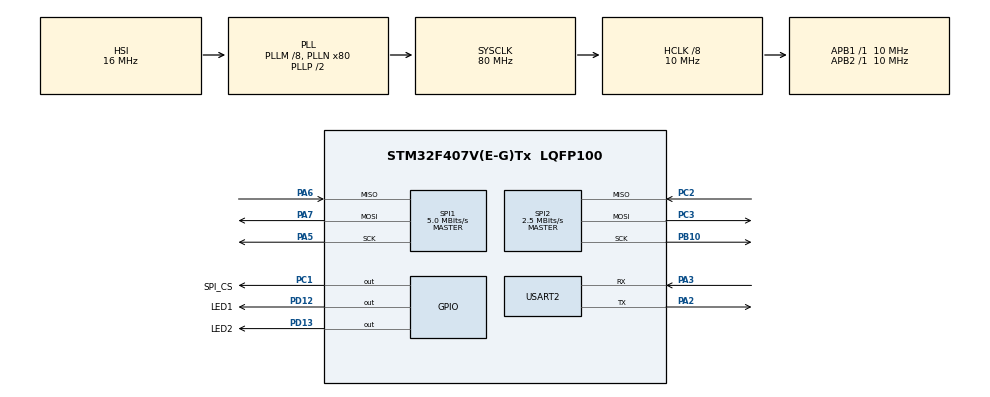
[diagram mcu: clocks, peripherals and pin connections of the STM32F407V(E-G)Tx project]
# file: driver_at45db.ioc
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Mcu.Family=STM32F4
Mcu.Name=STM32F407V(E-G)Tx
Mcu.Package=LQFP100
NVIC.PriorityGroup=NVIC_PRIORITYGROUP_4
PA2.Mode=Asynchronous
PA2.Signal=USART2_TX
PA3.Mode=Asynchronous
PA3.Signal=USART2_RX
PA5.Mode=Full_Duplex_Master
PA5.Signal=SPI1_SCK
PA6.Mode=Full_Duplex_Master
PA6.Signal=SPI1_MISO
PA7.Mode=Full_Duplex_Master
PA7.Signal=SPI1_MOSI
PB10.Mode=Full_Duplex_Master
PB10.Signal=SPI2_SCK
PC1.GPIO_Label=SPI_CS
PC1.Signal=GPIO_Output
PC2.Mode=Full_Duplex_Master
PC2.Signal=SPI2_MISO
PC3.Mode=Full_Duplex_Master
PC3.Signal=SPI2_MOSI
PD12.GPIO_Label=LED1
PD12.Signal=GPIO_Output
PD13.GPIO_Label=LED2
PD13.Signal=GPIO_Output
ProjectManager.HeapSize=0x200
ProjectManager.StackSize=0x400
ProjectManager.TargetToolchain=Makefile
RCC.48MHZClocksFreq_Value=40000000
RCC.AHBCLKDivider=RCC_SYSCLK_DIV8
RCC.AHBFreq_Value=10000000
RCC.APB1Freq_Value=10000000
RCC.APB1TimFreq_Value=10000000
RCC.APB2Freq_Value=10000000
RCC.APB2TimFreq_Value=10000000
RCC.CortexFreq_Value=10000000
RCC.HCLKFreq_Value=10000000
RCC.HSE_VALUE=25000000
RCC.HSI_VALUE=16000000
RCC.LSE_VALUE=32768
RCC.PLLM=8
RCC.PLLN=80
RCC.SYSCLKFreq_VALUE=80000000
RCC.SYSCLKSource=RCC_SYSCLKSOURCE_PLLCLK
RCC.VCOOutputFreq_Value=160000000
SPI1.CalculateBaudRate=5.0 MBits/s
SPI1.Direction=SPI_DIRECTION_2LINES
SPI1.Mode=SPI_MODE_MASTER
SPI1.VirtualType=VM_MASTER
SPI2.BaudRatePrescaler=SPI_BAUDRATEPRESCALER_4
SPI2.CalculateBaudRate=2.5 MBits/s
SPI2.Direction=SPI_DIRECTION_2LINES
SPI2.Mode=SPI_MODE_MASTER
SPI2.VirtualType=VM_MASTER
USART2.VirtualMode=VM_ASYNC
board=custom

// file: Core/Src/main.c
/* USER CODE BEGIN Header */
/**
  ******************************************************************************
  * @file           : main.c
  * @brief          : Main program body
  ******************************************************************************
  * @attention
  *
  * Copyright (c) 2022 STMicroelectronics.
  * All rights reserved.
  *
  * This software is licensed under terms that can be found in the LICENSE file
  * in the root directory of this software component.
  * If no LICENSE file comes with this software, it is provided AS-IS.
  *
  ******************************************************************************
  */
/* USER CODE END Header */
#include "main.h"
#include "AT45DB041.h"

/* USER CODE BEGIN Includes */
#include "string.h"
#define INIT_MSG             "Init program\n"
#define SIZE_MSG        (strlen(MSG))

/* USER CODE END Includes */

SPI_HandleTypeDef hspi1;
SPI_HandleTypeDef hspi2;

UART_HandleTypeDef huart2;

void SystemClock_Config(void);
static void MX_GPIO_Init(void);
static void MX_SPI2_Init(void);
static void MX_SPI1_Init(void);
static void MX_USART2_UART_Init(void);

int main(void)
{

  /* MCU Configuration--------------------------------------------------------*/

  /* Reset of all peripherals, Initializes the Flash interface and the Systick. */
  HAL_Init();

  /* Configure the system clock */
  SystemClock_Config();

  /* Initialize all configured peripherals */
  MX_GPIO_Init();
  MX_SPI2_Init();
  MX_SPI1_Init();
  MX_USART2_UART_Init();
  /* USER CODE BEGIN 2 */
uint8_t ready = 0;

uint8_t buffer[100]={0};
uint8_t  buffer1[50]={0};
  /* USER CODE END 2 */

  /* Infinite loop */
  /* USER CODE BEGIN WHILE */

  #define MSG       " Driver  AT45DB by Velardez German \n"
  #define MSG_LEN    strlen(MSG) +1

  #define BUFFER_FLAG          (0)
  #define FULL_ERASE           (0)
  HAL_UART_Transmit(&huart2,INIT_MSG,SIZE_MSG,1000);
  ready = is_ready();
  sprintf(buffer," device %s \n",(ready)?"ready":"bussy");
  HAL_UART_Transmit(&huart2,buffer,strlen(buffer),1000);

  at45_resumen();
  #if (BUFFER_FLAG == 1)
  //write_buffer1(MSG,MSG_LEN,0);
  HAL_Delay(100);
  read_buffer1(buffer1,MSG_LEN,0);
  #else
  write_page(MSG,MSG_LEN,100,2);
  HAL_Delay(100);
  read_page(buffer1,MSG_LEN,100,2);
  #endif

  sprintf(buffer," \nData readed:%s\n",buffer1);
  HAL_UART_Transmit(&huart2,buffer,strlen(buffer),1000);

  #if (BUFFER_FLAG == 0 && FULL_ERASE == 1)
  full_erase_memory();
  read_page(buffer1,MSG_LEN,100,0);
  sprintf(buffer," \nRead  page after full erase chip:%s\n",buffer1);

  HAL_UART_Transmit(&huart2,buffer,strlen(buffer),1000);
  #endif
  at45_sleep();
  while (1)
  {

    HAL_Delay(1000);
    HAL_GPIO_TogglePin(LED1_GPIO_Port,LED1_Pin);

    /* USER CODE END WHILE */

  }
}

void SystemClock_Config(void)
{
  RCC_OscInitTypeDef RCC_OscInitStruct = {0};
  RCC_ClkInitTypeDef RCC_ClkInitStruct = {0};

  /** Configure the main internal regulator output voltage
  */
  __HAL_RCC_PWR_CLK_ENABLE();
  __HAL_PWR_VOLTAGESCALING_CONFIG(PWR_REGULATOR_VOLTAGE_SCALE1);

  /** Initializes the RCC Oscillators according to the specified parameters
  * in the RCC_OscInitTypeDef structure.
  */
  RCC_OscInitStruct.OscillatorType = RCC_OSCILLATORTYPE_HSI;
  RCC_OscInitStruct.HSIState = RCC_HSI_ON;
  RCC_OscInitStruct.HSICalibrationValue = RCC_HSICALIBRATION_DEFAULT;
  RCC_OscInitStruct.PLL.PLLState = RCC_PLL_ON;
  RCC_OscInitStruct.PLL.PLLSource = RCC_PLLSOURCE_HSI;
  RCC_OscInitStruct.PLL.PLLM = 8;
  RCC_OscInitStruct.PLL.PLLN = 80;
  RCC_OscInitStruct.PLL.PLLP = RCC_PLLP_DIV2;
  RCC_OscInitStruct.PLL.PLLQ = 4;
  if (HAL_RCC_OscConfig(&RCC_OscInitStruct) != HAL_OK)
  {
    Error_Handler();
  }

  /** Initializes the CPU, AHB and APB buses clocks
  */
  RCC_ClkInitStruct.ClockType = RCC_CLOCKTYPE_HCLK|RCC_CLOCKTYPE_SYSCLK
                              |RCC_CLOCKTYPE_PCLK1|RCC_CLOCKTYPE_PCLK2;
  RCC_ClkInitStruct.SYSCLKSource = RCC_SYSCLKSOURCE_PLLCLK;
  RCC_ClkInitStruct.AHBCLKDivider = RCC_SYSCLK_DIV8;
  RCC_ClkInitStruct.APB1CLKDivider = RCC_HCLK_DIV1;
  RCC_ClkInitStruct.APB2CLKDivider = RCC_HCLK_DIV1;

  if (HAL_RCC_ClockConfig(&RCC_ClkInitStruct, FLASH_LATENCY_0) != HAL_OK)
  {
    Error_Handler();
  }
}

static void MX_SPI1_Init(void)
{

  /* SPI1 parameter configuration*/
  hspi1.Instance = SPI1;
  hspi1.Init.Mode = SPI_MODE_MASTER;
  hspi1.Init.Direction = SPI_DIRECTION_2LINES;
  hspi1.Init.DataSize = SPI_DATASIZE_8BIT;
  hspi1.Init.CLKPolarity = SPI_POLARITY_LOW;
  hspi1.Init.CLKPhase = SPI_PHASE_1EDGE;
  hspi1.Init.NSS = SPI_NSS_SOFT;
  hspi1.Init.BaudRatePrescaler = SPI_BAUDRATEPRESCALER_2;
  hspi1.Init.FirstBit = SPI_FIRSTBIT_MSB;
  hspi1.Init.TIMode = SPI_TIMODE_DISABLE;
  hspi1.Init.CRCCalculation = SPI_CRCCALCULATION_DISABLE;
  hspi1.Init.CRCPolynomial = 10;
  if (HAL_SPI_Init(&hspi1) != HAL_OK)
  {
    Error_Handler();
  }

}

static void MX_SPI2_Init(void)
{

  /* SPI2 parameter configuration*/
  hspi2.Instance = SPI2;
  hspi2.Init.Mode = SPI_MODE_MASTER;
  hspi2.Init.Direction = SPI_DIRECTION_2LINES;
  hspi2.Init.DataSize = SPI_DATASIZE_8BIT;
  hspi2.Init.CLKPolarity = SPI_POLARITY_LOW;
  hspi2.Init.CLKPhase = SPI_PHASE_1EDGE;
  hspi2.Init.NSS = SPI_NSS_SOFT;
  hspi2.Init.BaudRatePrescaler = SPI_BAUDRATEPRESCALER_16;
  hspi2.Init.FirstBit = SPI_FIRSTBIT_MSB;
  hspi2.Init.TIMode = SPI_TIMODE_DISABLE;
  hspi2.Init.CRCCalculation = SPI_CRCCALCULATION_DISABLE;
  hspi2.Init.CRCPolynomial = 10;
  if (HAL_SPI_Init(&hspi2) != HAL_OK)
  {
    Error_Handler();
  }

}

static void MX_USART2_UART_Init(void)
{

  huart2.Instance = USART2;
  huart2.Init.BaudRate = 115200;
  huart2.Init.WordLength = UART_WORDLENGTH_8B;
  huart2.Init.StopBits = UART_STOPBITS_1;
  huart2.Init.Parity = UART_PARITY_NONE;
  huart2.Init.Mode = UART_MODE_TX_RX;
  huart2.Init.HwFlowCtl = UART_HWCONTROL_NONE;
  huart2.Init.OverSampling = UART_OVERSAMPLING_16;
  if (HAL_UART_Init(&huart2) != HAL_OK)
  {
    Error_Handler();
  }

}

static void MX_GPIO_Init(void)
{
  GPIO_InitTypeDef GPIO_InitStruct = {0};

  /* GPIO Ports Clock Enable */
  __HAL_RCC_GPIOC_CLK_ENABLE();
  __HAL_RCC_GPIOA_CLK_ENABLE();
  __HAL_RCC_GPIOB_CLK_ENABLE();
  __HAL_RCC_GPIOD_CLK_ENABLE();

  /*Configure GPIO pin Output Level */
  HAL_GPIO_WritePin(SPI_CS_GPIO_Port, SPI_CS_Pin, GPIO_PIN_RESET);

  /*Configure GPIO pin Output Level */
  HAL_GPIO_WritePin(GPIOD, LED1_Pin|LED2_Pin, GPIO_PIN_RESET);

  /*Configure GPIO pin : SPI_CS_Pin */
  GPIO_InitStruct.Pin = SPI_CS_Pin;
  GPIO_InitStruct.Mode = GPIO_MODE_OUTPUT_PP;
  GPIO_InitStruct.Pull = GPIO_NOPULL;
  GPIO_InitStruct.Speed = GPIO_SPEED_FREQ_LOW;
  HAL_GPIO_Init(SPI_CS_GPIO_Port, &GPIO_InitStruct);

  /*Configure GPIO pins : LED1_Pin LED2_Pin */
  GPIO_InitStruct.Pin = LED1_Pin|LED2_Pin;
  GPIO_InitStruct.Mode = GPIO_MODE_OUTPUT_PP;
  GPIO_InitStruct.Pull = GPIO_NOPULL;
  GPIO_InitStruct.Speed = GPIO_SPEED_FREQ_LOW;
  HAL_GPIO_Init(GPIOD, &GPIO_InitStruct);

}

void Error_Handler(void)
{
  __disable_irq();
  while (1)
  {
  }
}
